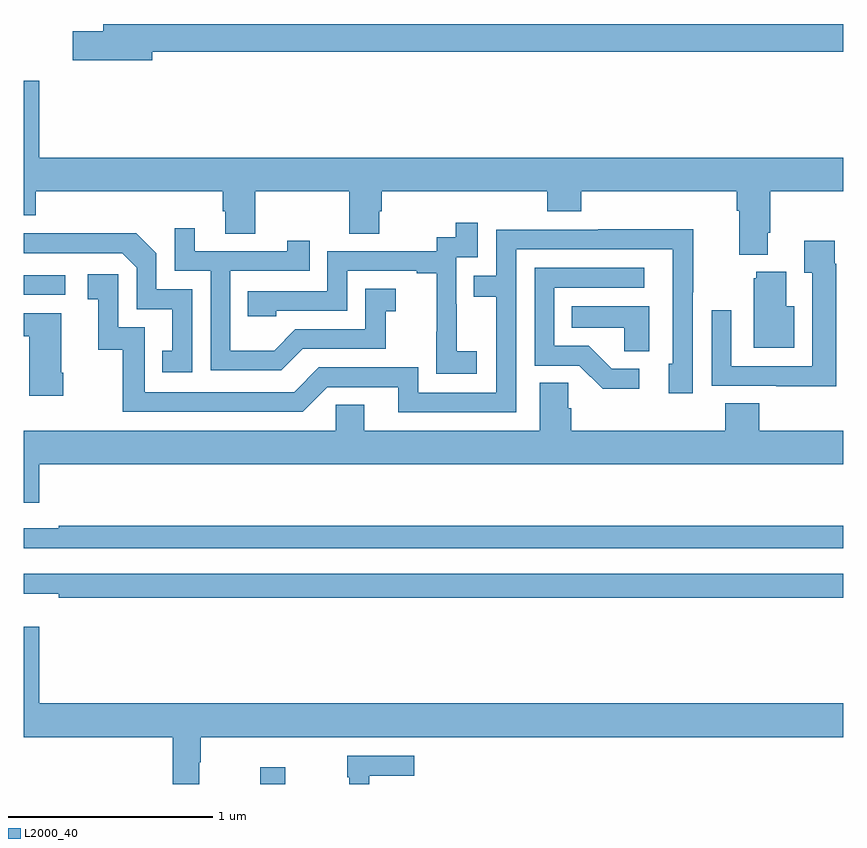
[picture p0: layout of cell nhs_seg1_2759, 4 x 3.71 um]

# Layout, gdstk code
import gdstk
lib = gdstk.Library(unit=1e-6, precision=1e-09)
def R(c, l, rs):  # rectangles x0, y0, x1, y1
    for r in rs: c.add(gdstk.rectangle(r[:2], r[2:], *l))
def P(c, l, *ps):  # polygons
    for p in ps: c.add(gdstk.Polygon(p, *l))
L2000_40 = (2000, 40)

nhs_seg1_2759 = lib.new_cell('nhs_seg1_2759')
R(nhs_seg1_2759, L2000_40, [(262.154,522.199,262.276,522.28), (261,524.586,261.202,524.682)])
P(nhs_seg1_2759, L2000_40, [(261.628,525.772),(265,525.772),(265,525.908),(261.389,525.908),(261.389,525.872),(261.24,525.872),(261.24,525.73),(261.628,525.73)],
  [(264.631,524.89),(264.644,524.89),(264.644,525.092),(265,525.092),(265,525.256),(261.076,525.256),(261.076,525.631),(261,525.631),(261,524.975),(261.059,524.975),(261.059,525.092),(261.971,525.092),(261.971,524.994),(261.983,524.994),(261.983,524.884),(262.131,524.884),(262.131,525.092),(262.588,525.092),(262.588,524.884),(262.735,524.884),(262.735,524.994),(262.748,524.994),(262.748,525.092),(263.555,525.092),(263.555,524.993),(263.72,524.993),(263.72,525.092),(264.479,525.092),(264.479,524.996),(264.491,524.996),(264.491,524.783),(264.631,524.783)],
  [(263.212,524.311),(263.114,524.311),(263.114,524.54),(263.112,524.54),(263.112,524.769),(263.217,524.769),(263.217,524.938),(263.109,524.938),(263.109,524.868),(263.016,524.868),(263.016,524.799),(262.482,524.799),(262.482,524.604),(262.093,524.604),(262.093,524.481),(262.233,524.481),(262.233,524.508),(262.578,524.508),(262.578,524.703),(262.919,524.703),(262.919,524.691),(263.015,524.691),(263.015,524.407),(263.014,524.407),(263.014,524.201),(263.212,524.201)],
  [(262.363,524.322),(262.767,524.322),(262.767,524.507),(262.816,524.507),(262.816,524.617),(262.668,524.617),(262.668,524.418),(262.326,524.418),(262.222,524.314),(262.008,524.314),(262.008,524.703),(262.397,524.703),(262.397,524.851),(262.286,524.851),(262.286,524.799),(261.835,524.799),(261.835,524.911),(261.738,524.911),(261.738,524.703),(261.912,524.703),(261.912,524.217),(262.258,524.217)],
  [(263.403,524.808),(264.168,524.808),(264.168,524.25),(264.149,524.25),(264.149,524.106),(264.264,524.106),(264.264,524.599),(264.267,524.599),(264.267,524.906),(263.803,524.906),(263.803,524.904),(263.307,524.904),(263.307,524.679),(263.197,524.679),(263.197,524.578),(263.307,524.578),(263.307,524.109),(262.926,524.109),(262.926,524.232),(262.44,524.232),(262.32,524.112),(261.591,524.112),(261.591,524.427),(261.462,524.427),(261.462,524.686),(261.312,524.686),(261.312,524.565),(261.365,524.565),(261.365,524.319),(261.483,524.319),(261.483,524.016),(262.362,524.016),(262.482,524.136),(262.829,524.136),(262.829,524.013),(263.403,524.013)],
  [(261.822,524.613),(261.648,524.613),(261.648,524.79),(261.55,524.888),(261.142,524.888),(261.142,524.886),(261,524.886),(261,524.79),(261.48,524.79),(261.552,524.718),(261.552,524.517),(261.725,524.517),(261.725,524.313),(261.676,524.313),(261.676,524.208),(261.822,524.208)],
  [(264.965,524.738),(264.958,524.738),(264.958,524.851),(264.809,524.851),(264.809,524.695),(264.849,524.695),(264.849,524.238),(264.453,524.238),(264.453,524.512),(264.357,524.512),(264.357,524.142),(264.673,524.142),(264.673,524.141),(264.965,524.141)],
  [(264.004,524.226),(263.869,524.226),(263.758,524.337),(263.589,524.337),(263.589,524.622),(264.028,524.622),(264.028,524.718),(263.493,524.718),(263.493,524.241),(263.712,524.241),(263.825,524.129),(264.004,524.129)],
  [(264.76,524.53),(264.721,524.53),(264.721,524.698),(264.575,524.698),(264.575,524.667),(264.563,524.667),(264.563,524.327),(264.76,524.327)],
  [(264.052,524.53),(263.674,524.53),(263.674,524.426),(263.931,524.426),(263.931,524.311),(264.052,524.311)],
  [(261.192,524.206),(261.184,524.206),(261.184,524.497),(261,524.497),(261,524.383),(261.026,524.383),(261.026,524.094),(261.192,524.094)],
  [(261.076,523.76),(265,523.76),(265,523.924),(264.59,523.924),(264.59,524.057),(264.425,524.057),(264.425,523.924),(263.672,523.924),(263.672,524.033),(263.658,524.033),(263.658,524.156),(263.519,524.156),(263.519,523.924),(262.663,523.924),(262.663,524.051),(262.524,524.051),(262.524,523.924),(261,523.924),(261,523.572),(261.076,523.572)],
  [(265,523.459),(261.172,523.459),(261.172,523.446),(261,523.446),(261,523.35),(265,523.35)],
  [(265,523.224),(261,523.224),(261,523.127),(261.172,523.127),(261.172,523.108),(265,523.108)],
  [(261.856,522.305),(261.863,522.305),(261.863,522.428),(265,522.428),(265,522.592),(261.076,522.592),(261.076,522.967),(261,522.967),(261,522.428),(261.727,522.428),(261.727,522.199),(261.856,522.199)],
  [(262.686,522.24),(262.906,522.24),(262.906,522.336),(262.578,522.336),(262.578,522.233),(262.59,522.233),(262.59,522.199),(262.686,522.199)])

lib.write_gds('nhs_seg1_2759.gds')
